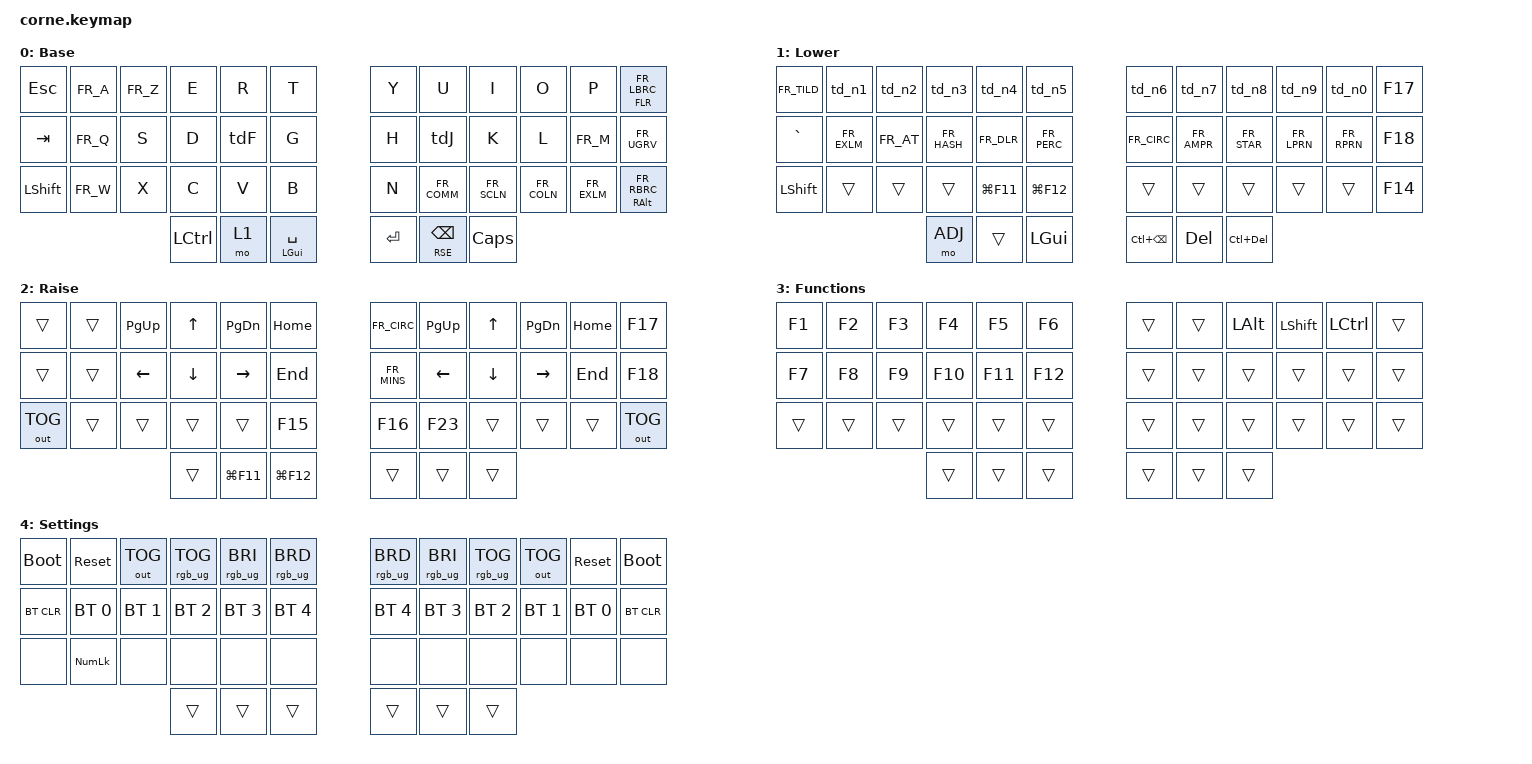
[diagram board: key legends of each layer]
/*
 * Copyright (c) 2020 The ZMK Contributors
 *
 * SPDX-License-Identifier: MIT
 */

#include <dt-bindings/led/led.h>
#include <dt-bindings/zmk/reset.h>
#include <behaviors.dtsi>
#include <dt-bindings/zmk/bt.h>
#include <dt-bindings/zmk/keys.h>
#include <dt-bindings/zmk/outputs.h>
#include "keymap_french.h"
#include <dt-bindings/zmk/rgb.h>

#define DEF 0
#define LWR 1
#define RSE 2
#define FLR 3
#define ADJ 4

&lt { quick_tap_ms = <219>; };
&mt { quick_tap_ms = <219>; };

&led_strip { chain-length = <27>; };

/ {
    behaviors {
        tdF: tap_dance_lang1 {
            compatible = "zmk,behavior-tap-dance";
            #binding-cells = <0>;
            tapping-term-ms = <100>;
            bindings = <&kp FR_F>, <&kp LG(F11)>;
        };
        tdJ: tap_dance_lang2 {
            compatible = "zmk,behavior-tap-dance";
            #binding-cells = <0>;
            tapping-term-ms = <100>;
            bindings = <&kp FR_J>, <&kp LG(F12)>;
        };
        lh_pht: left_positional_hold_tap {
            compatible = "zmk,behavior-hold-tap";
            #binding-cells = <2>;
            flavor = "tap-unless-interrupted";
            tapping-term-ms = <100>;                        // <---[[produces tap if held longer than tapping-term-ms]]
            quick-tap-ms = <200>;
            bindings = <&kp>, <&kp>;
            hold-trigger-key-positions = <0 1 2 3 4 5>;    // <---[[right-hand keys]]
        };

        // Tap for Number
        td_n1: tap_dance_n1 {
            compatible = "zmk,behavior-tap-dance";
            #binding-cells = <0>;
            tapping-term-ms = <200>;
            bindings = <&kp N1>, <&kp LS(N1)>;  
        };

        td_n2: tap_dance_n2 {
            compatible = "zmk,behavior-tap-dance";
            #binding-cells = <0>;
            tapping-term-ms = <200>;
            bindings = <&kp N2>, <&kp LS(N2)>;  
        };

        td_n3: tap_dance_n3 {
            compatible = "zmk,behavior-tap-dance";
            #binding-cells = <0>;
            tapping-term-ms = <200>;
            bindings = <&kp N3>, <&kp LS(N3)>;
        };

        td_n4: tap_dance_n4 {
            compatible = "zmk,behavior-tap-dance";
            #binding-cells = <0>;
            tapping-term-ms = <200>;
            bindings = <&kp N4>, <&kp LS(N4)>;  
        };

        td_n5: tap_dance_n5 {
            compatible = "zmk,behavior-tap-dance";
            #binding-cells = <0>;
            tapping-term-ms = <200>;
            bindings = <&kp N5>, <&kp LS(N5)>;  
        };

        td_n6: tap_dance_n6 {
            compatible = "zmk,behavior-tap-dance";
            #binding-cells = <0>;
            tapping-term-ms = <200>;
            bindings = <&kp N6>, <&kp LS(N6)>;  
        };

        td_n7: tap_dance_n7 {
            compatible = "zmk,behavior-tap-dance";
            #binding-cells = <0>;
            tapping-term-ms = <200>;
            bindings = <&kp N7>, <&kp LS(N7)>;  
        };

        td_n8: tap_dance_n8 {
            compatible = "zmk,behavior-tap-dance";
            #binding-cells = <0>;
            tapping-term-ms = <200>;
            bindings = <&kp N8>, <&kp LS(N8)>;  
        };

        td_n9: tap_dance_n9 {
            compatible = "zmk,behavior-tap-dance";
            #binding-cells = <0>;
            tapping-term-ms = <200>;
            bindings = <&kp N9>, <&kp LS(N9)>;  
        };

        td_n0: tap_dance_n0 {
            compatible = "zmk,behavior-tap-dance";
            #binding-cells = <0>;
            tapping-term-ms = <200>;
            bindings = <&kp N0>, <&kp LS(N0)>;  
        };
    };

    combos {
        compatible = "zmk,combos";

        ParaLeft {
            bindings = <&kp FR_LPRN>;
            key-positions = <4 5>;
            timeout-ms = <20>;
        };

        ParaRight {
            bindings = <&kp FR_RPRN>;
            key-positions = <6 7>;
            timeout-ms = <20>;
        };

        BrakLeft {
            bindings = <&kp FR_LBRC>;
            key-positions = <16 17>;
            timeout-ms = <20>;
        };

        BrakRight {
            bindings = <&kp FR_RBRC>;
            key-positions = <18 19>;
            timeout-ms = <20>;
        };

        BraceLeft {
            bindings = <&kp FR_LCBR>;
            key-positions = <28 29>;
            timeout-ms = <20>;
        };

        BraceRight {
            bindings = <&kp FR_RCBR>;
            key-positions = <30 31>;
            timeout-ms = <20>;
        };

        DoubleQuote {
            bindings = <&kp FR_DQUO>;
            key-positions = <15 16>;
            timeout-ms = <20>;
        };

        SingleQuote {
            bindings = <&kp FR_QUOT>;
            key-positions = <19 20>;
            timeout-ms = <20>;
        };

        //LangRu {
        //    bindings = <&kp LG(F11)>;
        //    key-positions = <0 1>;
        //    timeout-ms = <20>;
        //};

        //LangUs {
        //   bindings = <&kp LG(F12)>;
        //    key-positions = <10 11>;
        //    timeout-ms = <20>;
        //};

        //LangRuL {
        //    bindings = <&kp LG(F11)>;
        //    key-positions = <36 38>;
        //    timeout-ms = <20>;
        //};

        //LangUsL {
        //    bindings = <&kp LG(F12)>;
        //    key-positions = <39 41>;
        //    timeout-ms = <20>;
        //};

        TildaSign {
            bindings = <&kp FR_TILD>;
            key-positions = <0 12>;
            timeout-ms = <20>;
        };

        GraveSign {
            bindings = <&kp GRAVE>;
            key-positions = <12 24>;
            timeout-ms = <20>;
        };

        MinusSign {
            bindings = <&kp FR_MINS>;
            key-positions = <3 4>;
            timeout-ms = <20>;
        };

        PlusSign {
            bindings = <&kp FR_PLUS>;
            key-positions = <2 3>;
            timeout-ms = <20>;
        };

        UnderscoreSign {
            bindings = <&kp FR_UNDS>;
            key-positions = <7 8>;
            timeout-ms = <20>;
        };

        PipeSign {
            bindings = <&kp FR_PIPE>;
            key-positions = <8 9>;
            timeout-ms = <20>;
        };

        EqualSign {
            bindings = <&kp FR_EQL>;
            key-positions = <9 10>;
            timeout-ms = <20>;
        };

        LessSign {
            bindings = <&kp FR_LABK>;
            key-positions = <27 28>;
            timeout-ms = <20>;
        };

        GreaterSign {
            bindings = <&kp FR_RABK>;
            key-positions = <31 32>;
            timeout-ms = <20>;
        };
    };
};
/ {
        keymap {
                compatible = "zmk,keymap";

                default_layer {
                        display-name = "Base";
                        bindings = <
            // ╭─────────────┬─────────────┬─────────────┬─────────────┬─────────────┬─────────────╮   ╭─────────────┬─────────────┬─────────────┬─────────────┬─────────────┬─────────────╮
                  &kp ESC       &kp FR_A       &kp FR_Z       &kp E        &kp R         &kp T              &kp Y         &kp U         &kp I         &kp O         &kp P       &lt FLR FR_LBRC
            // ├─────────────┼─────────────┼─────────────┼─────────────┼─────────────┼─────────────┤   ├─────────────┼─────────────┼─────────────┼─────────────┼─────────────┼─────────────┤
                  &kp TAB       &kp FR_Q       &kp S         &kp D        &tdF          &kp G              &kp H         &tdJ          &kp K         &kp L         &kp FR_M     &kp FR_UGRV
            // ├─────────────┼─────────────┼─────────────┼─────────────┼─────────────┼─────────────┤   ├─────────────┼─────────────┼─────────────┼─────────────┼─────────────┼─────────────┤
                  &kp LSHFT     &kp FR_W       &kp X         &kp C        &kp V         &kp B              &kp N       &kp FR_COMM   &kp FR_SCLN   &kp FR_COLN   &kp FR_EXLM    &mt RALT FR_RBRC
            // ╰─────────────┴─────────────┼─────────────┼─────────────┼─────────────┼─────────────┤   ├─────────────┼─────────────┼─────────────┼─────────────┼─────────────┴─────────────╯
                                                            &kp LCTRL     &mo 1        &mt LGUI SPACE     &kp RET      &lt RSE BSPC  &kp CAPSLOCK
            //                                           ╰─────────────┴─────────────┴─────────────╯   ╰─────────────┴─────────────┴─────────────╯
                        >;
                };
                lower_layer {
                        display-name = "Lower";
                        bindings = <
            // ╭─────────────┬─────────────┬─────────────┬─────────────┬─────────────┬─────────────╮   ╭─────────────┬─────────────┬─────────────┬─────────────┬─────────────┬─────────────╮
                  &kp FR_TILD   &td_n1         &td_n2        &td_n3        &td_n4        &td_n5            &td_n6        &td_n7        &td_n8        &td_n9        &td_n0       &kp F17
            // ├─────────────┼─────────────┼─────────────┼─────────────┼─────────────┼─────────────┤   ├─────────────┼─────────────┼─────────────┼─────────────┼─────────────┼─────────────┤
                  &kp GRAVE     &kp FR_EXLM    &kp FR_AT     &kp FR_HASH   &kp FR_DLR    &kp FR_PERC       &kp FR_CIRC   &kp FR_AMPR   &kp FR_STAR   &kp FR_LPRN   &kp FR_RPRN  &kp F18
            // ├─────────────┼─────────────┼─────────────┼─────────────┼─────────────┼─────────────┤   ├─────────────┼─────────────┼─────────────┼─────────────┼─────────────┼─────────────┤
                  &kp LSHFT      &trans        &trans        &trans      &kp LG(F11)   &kp LG(F12)         &trans       &trans         &trans        &trans        &trans       &kp F14
            // ╰─────────────┴─────────────┼─────────────┼─────────────┼─────────────┼─────────────┤   ├─────────────┼─────────────┼─────────────┼─────────────┼─────────────┴─────────────╯
                                                             &mo ADJ        &trans       &kp LGUI       &kp LC(BSPC)     &kp DEL     &kp LC(DEL)
            //                                           ╰─────────────┴─────────────┴─────────────╯   ╰─────────────┴─────────────┴─────────────╯
                        >;
                };
                raise_layer {
                        display-name = "Raise";
                        bindings = <
            // ╭─────────────┬─────────────┬─────────────┬─────────────┬─────────────┬─────────────╮   ╭─────────────┬─────────────┬─────────────┬─────────────┬─────────────┬─────────────╮
                   &trans         &trans     &kp PG_UP      &kp UP        &kp PG_DN     &kp HOME          &kp FR_CIRC   &kp PG_UP     &kp UP        &kp PG_DN     &kp HOME     &kp F17
            // ├─────────────┼─────────────┼─────────────┼─────────────┼─────────────┼─────────────┤   ├─────────────┼─────────────┼─────────────┼─────────────┼─────────────┼─────────────┤
                   &trans         &trans     &kp LEFT       &kp DOWN      &kp RIGHT     &kp END           &kp FR_MINS   &kp LEFT      &kp DOWN      &kp RIGHT     &kp END      &kp F18
            // ├─────────────┼─────────────┼─────────────┼─────────────┼─────────────┼─────────────┤   ├─────────────┼─────────────┼─────────────┼─────────────┼─────────────┼─────────────┤
                 &out OUT_TOG     &trans     &trans         &trans        &trans        &kp F15           &kp F16       &kp F23       &trans        &trans        &trans       &out OUT_TOG
            // ╰─────────────┴─────────────┼─────────────┼─────────────┼─────────────┼─────────────┤   ├─────────────┼─────────────┼─────────────┼─────────────┼─────────────┴─────────────╯
                                                              &trans     &kp LG(F11)   &kp LG(F12)            &trans        &trans        &trans
            //                                           ╰─────────────┴─────────────┴─────────────╯   ╰─────────────┴─────────────┴─────────────╯
                        >; 
                };
                fbuttons_layer {
                        display-name = "Functions";
                        bindings = <
            // ╭─────────────┬─────────────┬─────────────┬─────────────┬─────────────┬─────────────╮   ╭─────────────┬─────────────┬─────────────┬─────────────┬─────────────┬─────────────╮
                   &kp F1        &kp F2        &kp F3         &kp F4        &kp F5        &kp F6            &trans        &trans       &kp LALT     &kp LSHFT     &kp LCTRL      &trans
            // ├─────────────┼─────────────┼─────────────┼─────────────┼─────────────┼─────────────┤   ├─────────────┼─────────────┼─────────────┼─────────────┼─────────────┼─────────────┤
                   &kp F7        &kp F8        &kp F9         &kp F10       &kp F11       &kp F12           &trans        &trans       &trans       &trans        &trans         &trans
            // ├─────────────┼─────────────┼─────────────┼─────────────┼─────────────┼─────────────┤   ├─────────────┼─────────────┼─────────────┼─────────────┼─────────────┼─────────────┤
                   &trans        &trans        &trans         &trans        &trans        &trans            &trans        &trans       &trans       &trans        &trans         &trans
            // ╰─────────────┴─────────────┼─────────────┼─────────────┼─────────────┼─────────────┤   ├─────────────┼─────────────┼─────────────┼─────────────┼─────────────┴─────────────╯
                                                              &trans        &trans        &trans            &trans       &trans        &trans
            //                                           ╰─────────────┴─────────────┴─────────────╯   ╰─────────────┴─────────────┴─────────────╯
                        >; 
                };
                adjust_layer {
                        display-name = "Settings";
                        bindings = <
            // ╭─────────────┬─────────────┬─────────────┬─────────────┬─────────────┬─────────────╮   ╭─────────────┬─────────────┬─────────────┬─────────────┬─────────────┬─────────────╮
                 &bootloader    &sys_reset   &out OUT_TOG &rgb_ug RGB_TOG &rgb_ug RGB_BRI &rgb_ug RGB_BRD &rgb_ug RGB_BRD &rgb_ug RGB_BRI &rgb_ug RGB_TOG &out OUT_TOG   &sys_reset   &bootloader
            // ├─────────────┼─────────────┼─────────────┼─────────────┼─────────────┼─────────────┤   ├─────────────┼─────────────┼─────────────┼─────────────┼─────────────┼─────────────┤
                 &bt BT_CLR    &bt BT_SEL 0  &bt BT_SEL 1  &bt BT_SEL 2  &bt BT_SEL 3  &bt BT_SEL 4      &bt BT_SEL 4  &bt BT_SEL 3   &bt BT_SEL 2  &bt BT_SEL 1  &bt BT_SEL 0  &bt BT_CLR
            // ├─────────────┼─────────────┼─────────────┼─────────────┼─────────────┼─────────────┤   ├─────────────┼─────────────┼─────────────┼─────────────┼─────────────┼─────────────┤
                   &none       &kp KP_NUM       &none         &none         &none         &none             &none         &none         &none         &none         &none         &none
            // ╰─────────────┴─────────────┼─────────────┼─────────────┼─────────────┼─────────────┤   ├─────────────┼─────────────┼─────────────┼─────────────┼─────────────┴─────────────╯
                                                              &trans        &trans        &trans            &trans        &trans        &trans
            //                                           ╰─────────────┴─────────────┴─────────────╯   ╰─────────────┴─────────────┴─────────────╯

                        >;
                };
        };
};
